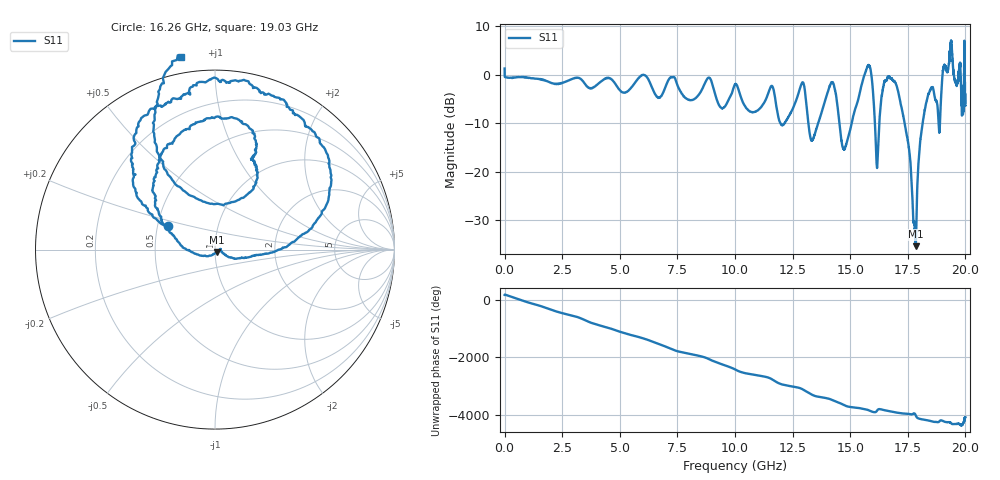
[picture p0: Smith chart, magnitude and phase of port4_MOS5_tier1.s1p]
! Created with skrf 1.8.0 (http://scikit-rf.org).
# GHz S RI R 50.0
!freq ReS11 ImS11
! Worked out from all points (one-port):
!   10001 points, 1 MHz to 20 GHz, reference 50 ohm
!   lowest |S11| = -35.4 dB at 17.84 GHz (marker M1), VSWR 1.03, Z = 51.1 - j1.3 ohm
!   |S11| at or under -10 dB: 13.18 GHz to 13.61 GHz (426.1 MHz wide, 3.18 % of centre); 14.53 GHz to 15.07 GHz (541.2 MHz wide, 3.66 % of centre); 17.36 GHz to 18.15 GHz (784.7 MHz wide, 4.42 % of centre) (the widest 3 of 6)
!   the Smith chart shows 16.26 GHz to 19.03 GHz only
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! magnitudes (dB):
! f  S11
! 1 MHz  1.2
! 2.501 GHz  -1.7
! 5.001 GHz  -3.2
! 7.501 GHz  -2.2
! 8.883 GHz  -0.7
! 9.451 GHz  -6.9
! 10 GHz  -2.0
! 10.78 GHz  -7.7
! 11.6 GHz  -2.3
! 12.04 GHz  -10.4
! 12.5 GHz  -7.1
! 12.95 GHz  -1.6
! 13.37 GHz  -13.5
! 14.21 GHz  -1.6
! 14.69 GHz  -15.2
! 15 GHz  -11.4
! 15.8 GHz  1.9
! 16.16 GHz  -18.9
! 16.42 GHz  -3.0
! 16.7 GHz  -0.4
! 17.5 GHz  -13.6
! 17.84 GHz  -35.4
! 18.07 GHz  -12.6
! 18.45 GHz  -3.5
! 18.85 GHz  -11.2
! 19.06 GHz  1.4
! 19.36 GHz  6.5
! 20 GHz  -6.4
